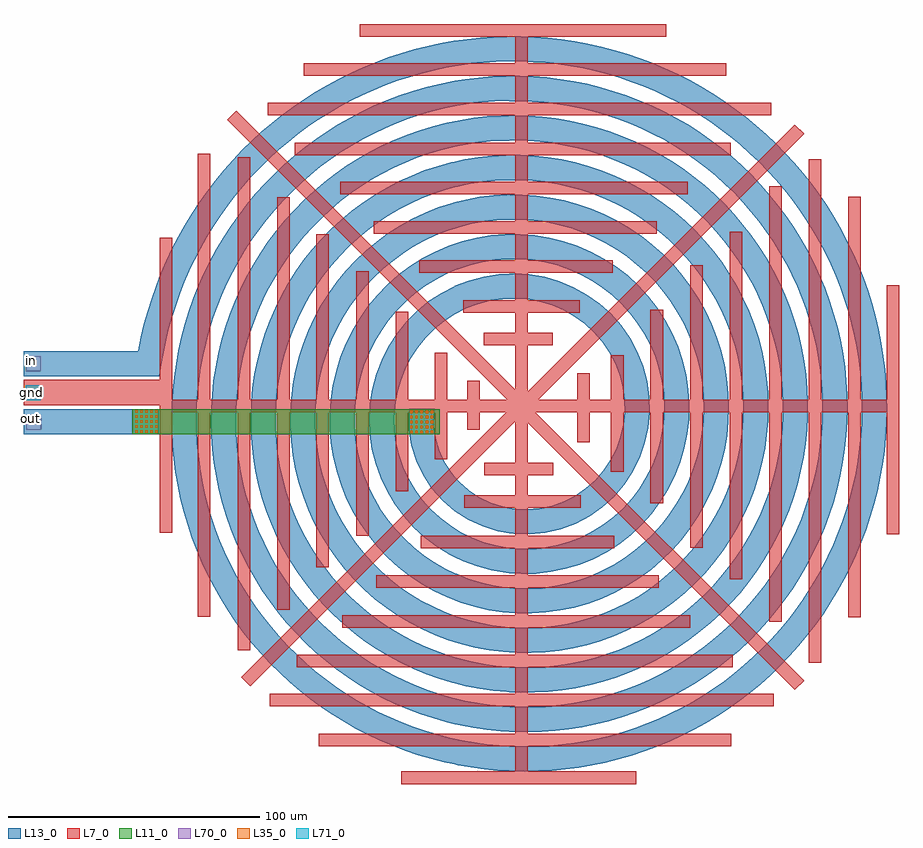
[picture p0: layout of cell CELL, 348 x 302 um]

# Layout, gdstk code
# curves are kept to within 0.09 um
import gdstk
lib = gdstk.Library(unit=1e-6, precision=1e-09)
def R(c, l, rs):  # rectangles x0, y0, x1, y1
    for r in rs: c.add(gdstk.rectangle(r[:2], r[2:], *l))
def A(c, l, x, y, w, h, nx, ny, dx, dy):  # array of equal rectangles
    R(c, l, [(x+i*dx, y+j*dy, x+i*dx+w, y+j*dy+h) for i in range(nx) for j in range(ny)])
def P(c, l, *ps):  # polygons
    for p in ps: c.add(gdstk.Polygon(p, *l))
L7_0 = (7, 0)
L11_0 = (11, 0)
L13_0 = (13, 0)
L35_0 = (35, 0)
L70_0 = (70, 0)
L71_0 = (71, 0)

cell = lib.new_cell('CELL')
P(cell, L7_0, [(149.8,46.3),(144.8,46.3),(144.8,0.8),(134.5,0.8),(134.5,81.4),(129.5,81.4),(129.5,0.8),(118.7,0.8),(118.7,96.4),(113.7,96.4),(113.7,0.8),(103.1,0.8),(103.1,85.7),(98.1,85.7),(98.1,0.8),(87.4,0.8),(87.4,67.6),(82.4,67.6),(82.4,0.8),(71.6,0.8),(71.6,54.2),(66.6,54.2),(66.6,0.8),(55.9,0.8),(55.9,36.5),(50.9,36.5),(50.9,0.8),(40.2,0.8),(40.2,18.5),(35.2,18.5),(35.2,0.8),(26.8,0.8),(26.8,11.3),(21.8,11.3),(21.8,0.8),(6.2,0.8),(111.9,106.5),(108.3,110.1),(2.1,3.9),(2.1,22.4),(12.1,22.4),(12.1,27.4),(2.1,27.4),(2.1,35.3),(22.7,35.3),(22.7,40.3),(2.1,40.3),(2.1,51.3),(35.9,51.3),(35.9,56.3),(2.1,56.3),(2.1,66.8),(53.3,66.8),(53.3,71.8),(2.1,71.8),(2.1,82.5),(65.8,82.5),(65.8,87.5),(2.1,87.5),(2.1,98),(82.7,98),(82.7,103),(2.1,103),(2.1,113.8),(98.9,113.8),(98.9,118.8),(2.1,118.8),(2.1,129.6),(81.1,129.6),(81.1,134.6),(2.1,134.6),(2.1,145.1),(57.1,145.1),(57.1,150.1),(-64.6,150.1),(-64.6,145.1),(-2.9,145.1),(-2.9,134.6),(-86.8,134.6),(-86.8,129.6),(-2.9,129.6),(-2.9,118.8),(-101.2,118.8),(-101.2,113.8),(-2.9,113.8),(-2.9,103),(-90.5,103),(-90.5,98),(-2.9,98),(-2.9,87.5),(-72.4,87.5),(-72.4,82.5),(-2.9,82.5),(-2.9,71.8),(-59,71.8),(-59,66.8),(-2.9,66.8),(-2.9,56.3),(-41,56.3),(-41,51.3),(-2.9,51.3),(-2.9,40.3),(-23.6,40.3),(-23.6,35.3),(-2.9,35.3),(-2.9,27.4),(-15.3,27.4),(-15.3,22.4),(-2.9,22.4),(-2.9,4.8),(-113.7,115.6),(-117.3,112),(-6.1,0.8),(-16.9,0.8),(-16.9,8.4),(-21.9,8.4),(-21.9,0.8),(-29.9,0.8),(-29.9,19.4),(-34.9,19.4),(-34.9,0.8),(-45.3,0.8),(-45.3,35.7),(-50.3,35.7),(-50.3,0.8),(-61,0.8),(-61,51.9),(-66,51.9),(-66,0.8),(-76.9,0.8),(-76.9,66.6),(-81.9,66.6),(-81.9,0.8),(-92.5,0.8),(-92.5,81.2),(-97.5,81.2),(-97.5,0.8),(-108.2,0.8),(-108.2,97.2),(-113.2,97.2),(-113.2,0.8),(-124,0.8),(-124,98.5),(-129,98.5),(-129,0.8),(-139.2,0.8),(-139.2,65.2),(-144.2,65.2),(-144.2,-52),(-139.2,-52),(-139.2,-4.2),(-129,-4.2),(-129,-85.4),(-124,-85.4),(-124,-4.2),(-113.2,-4.2),(-113.2,-98.7),(-108.2,-98.7),(-108.2,-4.2),(-97.5,-4.2),(-97.5,-82.6),(-92.5,-82.6),(-92.5,-4.2),(-81.9,-4.2),(-81.9,-65.7),(-76.9,-65.7),(-76.9,-4.2),(-66,-4.2),(-66,-53.2),(-61,-53.2),(-61,-4.2),(-50.3,-4.2),(-50.3,-35.6),(-45.3,-35.6),(-45.3,-4.2),(-34.9,-4.2),(-34.9,-22.9),(-29.9,-22.9),(-29.9,-4.2),(-21.9,-4.2),(-21.9,-11.2),(-16.9,-11.2),(-16.9,-4.2),(-6.5,-4.2),(-111.7,-109.4),(-108.1,-113),(-2.9,-7.8),(-2.9,-24.2),(-15.2,-24.2),(-15.2,-29.2),(-2.9,-29.2),(-2.9,-37.1),(-23.2,-37.1),(-23.2,-42.1),(-2.9,-42.1),(-2.9,-53.3),(-40.4,-53.3),(-40.4,-58.3),(-2.9,-58.3),(-2.9,-69),(-58.1,-69),(-58.1,-74),(-2.9,-74),(-2.9,-84.8),(-71.5,-84.8),(-71.5,-89.8),(-2.9,-89.8),(-2.9,-100.5),(-89.6,-100.5),(-89.6,-105.5),(-2.9,-105.5),(-2.9,-116.1),(-100.3,-116.1),(-100.3,-121.1),(-2.9,-121.1),(-2.9,-131.9),(-81,-131.9),(-81,-136.9),(-2.9,-136.9),(-2.9,-146.9),(-48.2,-146.9),(-48.2,-151.9),(45.3,-151.9),(45.3,-146.9),(2.1,-146.9),(2.1,-136.9),(82.9,-136.9),(82.9,-131.9),(2.1,-131.9),(2.1,-121.1),(99.8,-121.1),(99.8,-116.1),(2.1,-116.1),(2.1,-105.5),(83.6,-105.5),(83.6,-100.5),(2.1,-100.5),(2.1,-89.8),(66.7,-89.8),(66.7,-84.8),(2.1,-84.8),(2.1,-74),(54.2,-74),(54.2,-69),(2.1,-69),(2.1,-58.3),(36.5,-58.3),(36.5,-53.3),(2.1,-53.3),(2.1,-42.1),(23.1,-42.1),(23.1,-37.1),(2.1,-37.1),(2.1,-29.2),(12.2,-29.2),(12.2,-24.2),(2.1,-24.2),(2.1,-8.3),(108.3,-114.5),(111.9,-110.9),(5.2,-4.2),(21.8,-4.2),(21.8,-16.1),(26.8,-16.1),(26.8,-4.2),(35.2,-4.2),(35.2,-27.8),(40.2,-27.8),(40.2,-4.2),(50.9,-4.2),(50.9,-40.4),(55.9,-40.4),(55.9,-4.2),(66.6,-4.2),(66.6,-58.1),(71.6,-58.1),(71.6,-4.2),(82.4,-4.2),(82.4,-70.6),(87.4,-70.6),(87.4,-4.2),(98.1,-4.2),(98.1,-87.5),(103.1,-87.5),(103.1,-4.2),(113.7,-4.2),(113.7,-103.7),(118.7,-103.7),(118.7,-4.2),(129.5,-4.2),(129.5,-85.7),(134.5,-85.7),(134.5,-4.2),(144.8,-4.2),(144.8,-52.7),(149.8,-52.7)])
P(cell, L13_0, [(-45.11,-4.39),(-45.063,-10.85),(-44.079,-17.218),(-42.192,-23.365),(-39.454,-29.166),(-35.933,-34.511),(-31.708,-39.302),(-26.841,-43.472),(-26.841,-29.757),(-28.334,-28.011),(-31.02,-23.794),(-33.083,-19.239),(-34.474,-14.437),(-35.157,-9.483),(-35.11,-4.484),(-34.827,-2.7),(-44.871,-2.7)],
  [(-198.2,10.1),(-144.086,10.1),(-142.796,18.665),(-141.807,23.566),(-139.32,33.251),(-136.164,42.738),(-132.352,51.981),(-127.904,60.936),(-122.839,69.557),(-117.183,77.801),(-110.962,85.629),(-104.206,93),(-96.949,99.877),(-93.143,103.119),(-89.225,106.226),(-81.072,112.014),(-72.531,117.212),(-63.644,121.793),(-59.084,123.845),(-49.761,127.457),(-40.205,130.398),(-35.355,131.613),(-26.841,133.292),(-26.841,143.43),(-32.547,142.435),(-37.784,141.313),(-42.977,140.007),(-48.12,138.516),(-53.208,136.844),(-58.232,134.993),(-63.187,132.964),(-68.067,130.761),(-72.866,128.387),(-77.578,125.845),(-82.196,123.138),(-86.716,120.269),(-91.132,117.242),(-95.437,114.062),(-99.628,110.731),(-103.698,107.256),(-107.643,103.638),(-111.458,99.885),(-115.139,96),(-118.68,91.987),(-122.078,87.853),(-125.328,83.602),(-128.427,79.24),(-131.371,74.772),(-134.157,70.204),(-136.78,65.541),(-139.239,60.789),(-141.529,55.954),(-143.649,51.043),(-145.596,46.06),(-147.367,41.013),(-148.961,35.907),(-150.376,30.748),(-151.61,25.544),(-152.694,20.1),(-198.2,20.1)],
  [(-139.448,-6.441),(-139.376,-11.83),(-139.095,-17.212),(-138.604,-22.579),(-137.905,-27.922),(-136.999,-33.234),(-135.888,-38.506),(-134.572,-43.73),(-133.056,-48.9),(-131.34,-54.007),(-129.428,-59.043),(-127.322,-64.001),(-125.027,-68.874),(-122.545,-73.654),(-119.88,-78.334),(-117.037,-82.908),(-114.021,-87.369),(-110.834,-91.71),(-107.484,-95.925),(-103.973,-100.008),(-100.309,-103.953),(-96.496,-107.754),(-92.54,-111.405),(-88.448,-114.902),(-84.224,-118.239),(-79.876,-121.413),(-75.41,-124.417),(-70.833,-127.248),(-66.151,-129.902),(-61.372,-132.375),(-56.501,-134.664),(-51.548,-136.766),(-46.518,-138.677),(-41.419,-140.395),(-36.259,-141.918),(-31.045,-143.244),(-26.841,-144.145),(-26.841,-133.921),(-33.782,-132.23),(-38.576,-130.808),(-43.312,-129.205),(-47.983,-127.423),(-52.583,-125.464),(-57.106,-123.331),(-61.543,-121.027),(-65.89,-118.555),(-70.138,-115.919),(-74.283,-113.123),(-78.318,-110.17),(-82.237,-107.064),(-86.034,-103.811),(-89.703,-100.415),(-93.239,-96.88),(-96.637,-93.212),(-99.892,-89.416),(-102.998,-85.498),(-105.951,-81.463),(-108.746,-77.318),(-111.38,-73.067),(-113.847,-68.719),(-116.145,-64.278),(-118.27,-59.752),(-120.218,-55.147),(-121.986,-50.47),(-123.572,-45.728),(-124.973,-40.928),(-126.187,-36.078),(-127.211,-31.184),(-128.045,-26.254),(-128.687,-21.296),(-129.135,-16.316),(-129.389,-11.322),(-129.449,-6.322),(-129.313,-1.324),(-128.982,3.665),(-128.457,8.637),(-127.739,13.585),(-126.827,18.501),(-125.723,23.378),(-124.429,28.208),(-122.948,32.983),(-121.279,37.697),(-119.427,42.341),(-117.395,46.909),(-115.184,51.394),(-112.798,55.788),(-110.241,60.085),(-107.517,64.277),(-104.63,68.36),(-101.583,72.324),(-98.383,76.166),(-95.033,79.878),(-91.539,83.454),(-87.906,86.89),(-84.14,90.179),(-80.247,93.316),(-76.232,96.295),(-72.101,99.113),(-67.862,101.765),(-63.521,104.246),(-59.085,106.552),(-54.56,108.68),(-49.954,110.625),(-45.274,112.386),(-40.528,113.957),(-35.722,115.338),(-30.865,116.526),(-26.841,117.341),(-26.841,127.499),(-33.241,126.24),(-38.484,124.949),(-43.672,123.45),(-48.795,121.745),(-53.845,119.837),(-58.815,117.729),(-63.697,115.425),(-68.483,112.928),(-73.166,110.243),(-77.738,107.374),(-82.191,104.325),(-86.52,101.103),(-90.718,97.711),(-94.777,94.156),(-98.692,90.443),(-102.457,86.577),(-106.066,82.567),(-109.513,78.417),(-112.794,74.134),(-115.903,69.726),(-118.835,65.198),(-121.586,60.559),(-124.153,55.816),(-126.531,50.975),(-128.716,46.045),(-130.706,41.033),(-132.498,35.947),(-134.089,30.795),(-135.477,25.585),(-136.659,20.325),(-137.635,15.023),(-138.402,9.687),(-138.961,4.326),(-139.309,-1.053)],
  [(-123.741,-8.019),(-123.588,-13.46),(-123.194,-18.889),(-122.56,-24.295),(-121.687,-29.667),(-120.578,-34.994),(-119.234,-40.267),(-117.659,-45.476),(-115.856,-50.609),(-113.828,-55.657),(-111.581,-60.611),(-109.118,-65.461),(-106.444,-70.197),(-103.566,-74.812),(-100.488,-79.295),(-97.217,-83.639),(-93.759,-87.835),(-90.121,-91.875),(-86.311,-95.753),(-82.335,-99.46),(-78.202,-102.99),(-73.919,-106.337),(-69.495,-109.494),(-64.938,-112.455),(-60.258,-115.215),(-55.462,-117.77),(-50.56,-120.114),(-45.562,-122.243),(-40.477,-124.154),(-35.315,-125.843),(-26.841,-128.066),(-26.841,-117.798),(-32.602,-116.218),(-37.351,-114.655),(-42.029,-112.888),(-46.625,-110.92),(-51.132,-108.756),(-55.541,-106.397),(-59.844,-103.85),(-64.031,-101.118),(-68.097,-98.207),(-72.031,-95.121),(-75.827,-91.868),(-79.478,-88.451),(-82.976,-84.879),(-86.315,-81.157),(-89.488,-77.293),(-92.489,-73.293),(-95.312,-69.166),(-97.951,-64.919),(-100.401,-60.561),(-102.657,-56.099),(-104.714,-51.542),(-106.569,-46.899),(-108.218,-42.178),(-109.657,-37.39),(-110.883,-32.542),(-111.894,-27.646),(-112.687,-22.709),(-113.26,-17.742),(-113.613,-12.754),(-113.745,-7.756),(-113.654,-2.757),(-113.341,2.233),(-112.806,7.205),(-112.05,12.147),(-111.075,17.051),(-109.882,21.907),(-108.473,26.704),(-106.851,31.434),(-105.019,36.086),(-102.98,40.651),(-100.739,45.121),(-98.299,49.485),(-95.665,53.735),(-92.843,57.863),(-89.838,61.859),(-86.655,65.715),(-83.302,69.424),(-79.785,72.978),(-76.111,76.369),(-72.287,79.59),(-68.32,82.635),(-64.22,85.497),(-59.994,88.169),(-55.651,90.647),(-51.2,92.924),(-46.65,94.996),(-42.01,96.859),(-37.29,98.508),(-32.499,99.94),(-26.841,101.313),(-26.841,111.51),(-30.07,110.853),(-35.362,109.521),(-40.588,107.949),(-45.735,106.139),(-50.795,104.097),(-55.755,101.826),(-60.607,99.333),(-65.339,96.621),(-69.943,93.697),(-74.41,90.567),(-78.729,87.238),(-82.893,83.718),(-86.892,80.012),(-90.72,76.13),(-94.368,72.08),(-97.83,67.869),(-101.098,63.507),(-104.165,59.002),(-107.027,54.365),(-109.677,49.604),(-112.111,44.729),(-114.323,39.75),(-116.31,34.678),(-118.068,29.522),(-119.593,24.293),(-120.883,19.002),(-121.936,13.658),(-122.749,8.274),(-123.321,2.859),(-123.652,-2.575)],
  [(-108.022,-5.565),(-107.969,-11.081),(-107.632,-16.585),(-107.012,-22.065),(-106.111,-27.504),(-104.932,-32.89),(-103.479,-38.207),(-101.755,-43.442),(-99.766,-48.582),(-97.517,-53.612),(-95.015,-58.521),(-92.266,-63.295),(-89.278,-67.923),(-86.059,-72.392),(-82.618,-76.692),(-78.964,-80.811),(-75.106,-84.739),(-71.055,-88.467),(-66.822,-91.985),(-62.417,-95.284),(-57.852,-98.358),(-53.138,-101.197),(-48.289,-103.796),(-43.316,-106.147),(-38.231,-108.246),(-33.049,-110.088),(-26.841,-111.901),(-26.841,-101.519),(-30.154,-100.517),(-34.861,-98.832),(-39.478,-96.913),(-43.993,-94.765),(-48.395,-92.393),(-52.672,-89.804),(-56.813,-87.002),(-60.808,-83.995),(-64.646,-80.79),(-68.318,-77.396),(-71.813,-73.821),(-75.122,-70.073),(-78.237,-66.162),(-81.15,-62.098),(-83.852,-57.891),(-86.337,-53.552),(-88.597,-49.092),(-90.627,-44.522),(-92.42,-39.855),(-93.973,-35.102),(-95.28,-30.276),(-96.337,-25.389),(-97.142,-20.454),(-97.693,-15.485),(-97.986,-10.493),(-98.022,-5.493),(-97.8,-0.498),(-97.319,4.478),(-96.582,9.424),(-95.589,14.324),(-94.343,19.166),(-92.847,23.937),(-91.105,28.624),(-89.12,33.213),(-86.899,37.693),(-84.447,42.05),(-81.77,46.273),(-78.875,50.35),(-75.771,54.27),(-72.464,58.02),(-68.965,61.592),(-65.283,64.974),(-61.427,68.157),(-57.408,71.132),(-53.238,73.89),(-48.927,76.423),(-44.487,78.724),(-39.932,80.785),(-35.274,82.601),(-30.525,84.167),(-26.841,85.166),(-26.841,95.448),(-33.655,93.664),(-38.906,91.918),(-44.055,89.896),(-49.089,87.602),(-53.993,85.045),(-58.753,82.231),(-63.358,79.169),(-67.793,75.869),(-72.047,72.339),(-76.108,68.59),(-79.966,64.633),(-83.609,60.479),(-87.029,56.14),(-90.216,51.627),(-93.162,46.955),(-95.858,42.135),(-98.299,37.182),(-100.478,32.109),(-102.389,26.929),(-104.028,21.658),(-105.39,16.31),(-106.472,10.899),(-107.273,5.439),(-107.79,-0.054)],
  [(-92.286,-4.502),(-92.285,-10.118),(-91.939,-15.722),(-91.25,-21.292),(-90.22,-26.809),(-88.856,-32.251),(-87.161,-37.599),(-85.145,-42.833),(-82.814,-47.933),(-80.178,-52.881),(-77.247,-57.659),(-74.034,-62.25),(-70.549,-66.638),(-66.808,-70.807),(-62.823,-74.743),(-58.609,-78.431),(-54.183,-81.859),(-49.56,-85.016),(-44.758,-87.89),(-39.794,-90.473),(-34.686,-92.754),(-29.452,-94.728),(-26.841,-95.539),(-26.841,-85.041),(-31.128,-83.409),(-35.687,-81.355),(-40.115,-79.034),(-44.397,-76.452),(-48.517,-73.619),(-52.46,-70.545),(-56.212,-67.24),(-59.758,-63.715),(-63.086,-59.983),(-66.182,-56.057),(-69.036,-51.952),(-71.636,-47.681),(-73.972,-43.26),(-76.036,-38.706),(-77.818,-34.034),(-79.313,-29.263),(-80.513,-24.409),(-81.413,-19.491),(-82.011,-14.527),(-82.302,-9.535),(-82.286,-4.535),(-81.961,0.454),(-81.329,5.414),(-80.391,10.325),(-79.15,15.169),(-77.611,19.926),(-75.778,24.578),(-73.659,29.107),(-71.261,33.494),(-68.593,37.723),(-65.665,41.776),(-62.488,45.637),(-59.073,49.289),(-55.436,52.72),(-51.588,55.913),(-47.546,58.856),(-43.325,61.536),(-38.942,63.943),(-34.415,66.065),(-29.761,67.893),(-26.841,68.83),(-26.841,79.251),(-33.418,77.2),(-38.659,75.119),(-43.755,72.708),(-48.686,69.978),(-53.432,66.94),(-57.975,63.608),(-62.296,59.995),(-66.379,56.118),(-70.209,51.991),(-73.77,47.632),(-77.05,43.059),(-80.036,38.291),(-82.717,33.345),(-85.082,28.243),(-87.125,23.005),(-88.837,17.651),(-90.214,12.202),(-91.249,6.679),(-91.94,1.104)],
  [(-76.583,-4.893),(-76.547,-10.655),(-76.072,-16.396),(-75.162,-22.082),(-73.825,-27.68),(-72.069,-33.159),(-69.906,-38.489),(-67.349,-43.639),(-64.415,-48.581),(-61.121,-53.288),(-57.487,-57.736),(-53.533,-61.899),(-49.284,-65.757),(-44.763,-69.288),(-39.995,-72.476),(-35.008,-75.304),(-29.828,-77.758),(-26.841,-78.914),(-26.841,-68.13),(-30.684,-66.287),(-35.022,-63.801),(-39.165,-61.002),(-43.091,-57.905),(-46.777,-54.527),(-50.202,-50.885),(-53.347,-46.998),(-56.194,-42.887),(-58.726,-38.576),(-60.927,-34.086),(-62.785,-29.444),(-64.287,-24.675),(-65.425,-19.806),(-66.19,-14.865),(-66.577,-9.88),(-66.583,-4.88),(-66.207,0.106),(-65.45,5.048),(-64.314,9.917),(-62.807,14.684),(-60.934,19.321),(-58.708,23.798),(-56.14,28.088),(-53.245,32.164),(-50.039,36.001),(-46.542,39.575),(-42.774,42.862),(-38.758,45.84),(-34.518,48.491),(-30.081,50.796),(-26.841,52.162),(-26.841,62.801),(-29.361,61.953),(-34.691,59.67),(-39.82,56.97),(-44.715,53.872),(-49.347,50.397),(-53.689,46.569),(-57.713,42.413),(-61.398,37.955),(-64.72,33.224),(-67.662,28.25),(-70.207,23.065),(-72.341,17.7),(-74.053,12.188),(-75.334,6.563),(-76.179,0.858)],
  [(-60.913,-6.877),(-60.655,-12.872),(-59.799,-18.806),(-58.359,-24.62),(-56.352,-30.259),(-53.801,-35.669),(-50.736,-40.799),(-47.187,-45.601),(-43.192,-50.034),(-38.791,-54.056),(-34.027,-57.634),(-28.946,-60.737),(-26.841,-61.761),(-26.841,-50.326),(-28.749,-49.14),(-32.724,-46.107),(-36.388,-42.705),(-39.707,-38.965),(-42.646,-34.92),(-45.177,-30.608),(-47.272,-26.068),(-48.911,-21.344),(-50.073,-16.481),(-50.746,-11.526),(-50.919,-6.529),(-50.59,-1.54),(-49.758,3.39),(-48.431,8.211),(-46.618,12.87),(-44.336,17.319),(-41.608,21.51),(-38.46,25.394),(-34.924,28.929),(-31.037,32.075),(-26.841,34.793),(-26.841,45.994),(-32.276,43.186),(-37.328,39.848),(-41.995,36.001),(-46.229,31.69),(-49.988,26.966),(-53.235,21.882),(-55.937,16.496),(-58.072,10.866),(-59.619,5.053),(-60.568,-0.882)],
  [(-26.841,-43.472),(-21.52,-46.894),(-15.763,-49.572),(-9.71,-51.447),(-3.472,-52.495),(2.838,-52.709),(9.11,-52.095),(15.239,-50.673),(21.123,-48.477),(26.67,-45.551),(31.792,-41.952),(36.413,-37.743),(40.466,-32.998),(43.896,-27.795),(46.655,-22.218),(48.711,-16.355),(50.039,-10.295),(50.629,-4.127),(50.478,2.058),(49.596,8.174),(48.002,14.135),(45.726,19.862),(42.803,25.279),(39.28,30.317),(35.207,34.912),(30.644,39.008),(25.652,42.558),(20.299,45.521),(14.655,47.865),(8.792,49.566),(2.784,50.609),(-3.296,50.986),(-9.374,50.699),(-15.379,49.756),(-21.241,48.173),(-26.841,45.994),(-26.841,34.793),(-22.379,37.05),(-17.703,38.82),(-12.864,40.077),(-7.917,40.806),(-2.921,40.993),(2.067,40.635),(6.984,39.731),(11.772,38.29),(16.37,36.325),(20.719,33.859),(24.764,30.919),(28.449,27.541),(31.726,23.764),(34.548,19.636),(36.874,15.21),(38.669,10.544),(39.907,5.699),(40.565,0.743),(40.629,-4.257),(40.096,-9.229),(38.969,-14.1),(37.258,-18.798),(34.987,-23.252),(32.185,-27.393),(28.89,-31.155),(25.152,-34.475),(21.025,-37.297),(16.572,-39.573),(11.865,-41.259),(6.98,-42.324),(1.998,-42.744),(-2.996,-42.506),(-7.915,-41.609),(-12.67,-40.062),(-17.173,-37.889),(-21.338,-35.123),(-25.084,-31.811),(-26.841,-29.757)],
  [(-26.841,-61.761),(-23.596,-63.34),(-18.028,-65.423),(-12.292,-66.969),(-6.44,-67.968),(-0.524,-68.415),(5.404,-68.309),(11.292,-67.654),(17.091,-66.458),(22.751,-64.735),(28.226,-62.502),(33.472,-59.781),(38.445,-56.596),(43.107,-52.976),(47.42,-48.954),(51.354,-44.564),(54.876,-39.842),(57.963,-34.828),(60.591,-29.564),(62.742,-24.091),(64.403,-18.453),(65.562,-12.695),(66.214,-6.861),(66.356,-0.995),(65.989,4.857),(65.118,10.653),(63.753,16.349),(61.906,21.905),(59.592,27.279),(56.831,32.435),(53.644,37.335),(50.057,41.946),(46.096,46.237),(41.791,50.178),(37.175,53.744),(32.28,56.911),(27.141,59.66),(21.795,61.973),(16.279,63.837),(10.632,65.24),(4.891,66.176),(-0.904,66.64),(-6.716,66.632),(-12.504,66.152),(-18.233,65.206),(-23.864,63.803),(-26.841,62.801),(-26.841,52.162),(-25.474,52.739),(-20.727,54.308),(-15.869,55.49),(-10.931,56.276),(-5.946,56.661),(-0.946,56.641),(4.036,56.213),(8.966,55.38),(13.811,54.146),(18.539,52.518),(23.116,50.506),(27.511,48.121),(31.693,45.38),(35.631,42.3),(39.299,38.902),(42.668,35.207),(45.714,31.242),(48.414,27.034),(50.748,22.612),(52.696,18.007),(54.244,13.253),(55.379,8.384),(56.09,3.434),(56.372,-1.558),(56.219,-6.555),(55.632,-11.521),(54.613,-16.416),(53.169,-21.203),(51.309,-25.844),(49.046,-30.302),(46.396,-34.543),(43.379,-38.53),(40.018,-42.231),(36.337,-45.616),(32.367,-48.655),(28.138,-51.322),(23.683,-53.594),(19.04,-55.449),(14.247,-56.871),(9.343,-57.846),(4.37,-58.363),(-0.63,-58.416),(-5.613,-58.003),(-10.535,-57.124),(-15.353,-55.787),(-20.023,-54),(-24.502,-51.779),(-26.841,-50.326)],
  [(-26.841,-78.914),(-24.485,-79.826),(-19.007,-81.499),(-13.424,-82.768),(-7.765,-83.628),(-2.061,-84.077),(3.658,-84.114),(9.364,-83.738),(15.026,-82.954),(20.616,-81.768),(26.105,-80.186),(31.466,-78.217),(36.671,-75.873),(41.696,-73.167),(46.516,-70.114),(51.107,-66.729),(55.447,-63.031),(59.516,-59.039),(63.294,-54.773),(66.764,-50.255),(69.91,-45.508),(72.717,-40.555),(75.174,-35.421),(77.27,-30.131),(78.995,-24.71),(80.342,-19.185),(81.306,-13.582),(81.885,-7.928),(82.075,-2.249),(81.878,3.428),(81.296,9.077),(80.331,14.672),(78.991,20.187),(77.281,25.597),(75.211,30.879),(72.791,36.008),(70.033,40.962),(66.951,45.719),(63.558,50.258),(59.872,54.559),(55.909,58.605),(51.687,62.379),(47.225,65.863),(42.545,69.044),(37.666,71.909),(32.61,74.447),(27.4,76.646),(22.059,78.499),(16.609,79.999),(11.074,81.139),(5.478,81.917),(-0.155,82.33),(-5.801,82.377),(-11.438,82.058),(-17.041,81.377),(-22.587,80.337),(-26.841,79.251),(-26.841,68.83),(-20.151,70.638),(-15.233,71.542),(-10.267,72.127),(-5.274,72.391),(-0.275,72.331),(4.711,71.947),(9.66,71.24),(14.554,70.212),(19.369,68.868),(24.087,67.211),(28.686,65.249),(33.146,62.989),(37.448,60.441),(41.572,57.614),(45.501,54.521),(49.216,51.175),(52.701,47.59),(55.94,43.78),(58.917,39.764),(61.62,35.557),(64.035,31.179),(66.15,26.648),(67.956,21.986),(69.443,17.212),(70.605,12.349),(71.434,7.418),(71.927,2.442),(72.08,-2.555),(71.892,-7.552),(71.363,-12.524),(70.494,-17.448),(69.289,-22.3),(67.753,-27.059),(65.893,-31.699),(63.715,-36.2),(61.231,-40.54),(58.452,-44.696),(55.389,-48.648),(52.058,-52.377),(48.474,-55.863),(44.654,-59.09),(40.617,-62.039),(36.382,-64.697),(31.969,-67.048),(27.401,-69.081),(22.7,-70.783),(17.889,-72.147),(12.993,-73.163),(8.038,-73.827),(3.047,-74.132),(-1.953,-74.078),(-6.935,-73.663),(-11.875,-72.888),(-16.746,-71.758),(-21.521,-70.276),(-26.841,-68.13)],
  [(-26.841,-95.539),(-24.112,-96.387),(-18.683,-97.727),(-13.186,-98.744),(-7.64,-99.434),(-2.063,-99.796),(3.524,-99.83),(9.102,-99.535),(14.653,-98.914),(20.157,-97.97),(25.595,-96.706),(30.949,-95.127),(36.202,-93.24),(41.335,-91.05),(46.331,-88.568),(51.175,-85.8),(55.849,-82.758),(60.34,-79.451),(64.631,-75.892),(68.71,-72.092),(72.563,-68.065),(76.179,-63.825),(79.545,-59.385),(82.651,-54.761),(85.488,-49.967),(88.047,-45.021),(90.32,-39.938),(92.301,-34.735),(93.983,-29.429),(95.361,-24.038),(96.433,-18.577),(97.195,-13.066),(97.644,-7.522),(97.782,-1.962),(97.607,3.596),(97.12,9.135),(96.325,14.636),(95.223,20.084),(93.819,25.461),(92.118,30.751),(90.126,35.937),(87.849,41.004),(85.295,45.936),(82.473,50.718),(79.39,55.336),(76.058,59.776),(72.487,64.025),(68.688,68.07),(64.673,71.9),(60.454,75.503),(56.045,78.87),(51.459,81.989),(46.71,84.853),(41.813,87.453),(36.782,89.783),(31.633,91.834),(26.38,93.604),(21.04,95.085),(15.629,96.275),(10.162,97.17),(4.655,97.769),(-0.875,98.07),(-6.413,98.073),(-11.942,97.779),(-17.446,97.188),(-22.91,96.303),(-26.841,95.448),(-26.841,85.166),(-20.811,86.526),(-15.873,87.312),(-10.9,87.833),(-5.907,88.086),(-0.907,88.07),(4.085,87.786),(9.054,87.232),(13.986,86.411),(18.867,85.324),(23.681,83.975),(28.416,82.366),(33.055,80.503),(37.587,78.39),(41.997,76.033),(46.272,73.44),(50.398,70.616),(54.364,67.571),(58.157,64.314),(61.766,60.853),(65.179,57.199),(68.385,53.363),(71.376,49.355),(74.14,45.189),(76.67,40.876),(78.957,36.43),(80.994,31.863),(82.774,27.191),(84.291,22.427),(85.54,17.585),(86.518,12.682),(87.219,7.731),(87.643,2.749),(87.786,-2.249),(87.648,-7.247),(87.23,-12.229),(86.531,-17.18),(85.554,-22.084),(84.301,-26.924),(82.777,-31.686),(80.985,-36.354),(78.93,-40.912),(76.62,-45.347),(74.061,-49.642),(71.26,-53.784),(68.228,-57.76),(64.973,-61.555),(61.505,-65.157),(57.837,-68.555),(53.979,-71.735),(49.944,-74.688),(45.745,-77.403),(41.396,-79.87),(36.912,-82.082),(32.307,-84.029),(27.596,-85.706),(22.796,-87.105),(17.923,-88.223),(12.992,-89.053),(8.021,-89.594),(3.027,-89.842),(-1.972,-89.796),(-6.961,-89.457),(-11.921,-88.824),(-16.834,-87.9),(-21.685,-86.686),(-26.841,-85.041)],
  [(-26.841,-111.901),(-22.442,-112.984),(-17.045,-114.031),(-11.602,-114.808),(-6.129,-115.313),(-0.637,-115.546),(4.858,-115.506),(10.344,-115.193),(15.808,-114.609),(21.235,-113.756),(26.613,-112.637),(31.929,-111.253),(37.169,-109.61),(42.322,-107.71),(47.374,-105.561),(52.315,-103.166),(57.131,-100.532),(61.812,-97.665),(66.347,-94.574),(70.725,-91.265),(74.936,-87.746),(78.971,-84.027),(82.818,-80.117),(86.471,-76.024),(89.921,-71.759),(93.159,-67.333),(96.179,-62.755),(98.973,-58.037),(101.536,-53.19),(103.861,-48.226),(105.944,-43.155),(107.781,-37.991),(109.366,-32.745),(110.698,-27.429),(111.773,-22.056),(112.589,-16.638),(113.144,-11.188),(113.439,-5.718),(113.471,-0.241),(113.242,5.231),(112.753,10.685),(112.004,16.11),(110.998,21.492),(109.738,26.819),(108.227,32.081),(106.468,37.264),(104.466,42.358),(102.226,47.35),(99.752,52.231),(97.051,56.99),(94.13,61.615),(90.993,66.097),(87.65,70.426),(84.108,74.593),(80.374,78.589),(76.457,82.405),(72.367,86.033),(68.111,89.466),(63.7,92.696),(59.144,95.715),(54.452,98.519),(49.636,101.102),(44.704,103.457),(39.67,105.58),(34.542,107.467),(29.333,109.114),(24.054,110.518),(18.716,111.676),(13.33,112.586),(7.909,113.247),(2.464,113.656),(-2.994,113.814),(-8.453,113.721),(-13.902,113.377),(-19.328,112.783),(-26.841,111.51),(-26.841,101.313),(-22.746,102.138),(-17.805,102.9),(-12.833,103.434),(-5.274,103.779),(2.154,103.661),(7.14,103.276),(12.102,102.662),(17.03,101.819),(21.914,100.75),(26.744,99.455),(31.508,97.938),(36.197,96.202),(40.801,94.25),(45.308,92.087),(49.71,89.715),(53.997,87.142),(58.159,84.371),(62.187,81.409),(66.073,78.262),(69.807,74.937),(73.381,71.441),(76.787,67.781),(80.018,63.965),(83.066,60.001),(85.924,55.899),(88.586,51.666),(91.046,47.313),(93.297,42.848),(95.335,38.282),(97.154,33.625),(98.751,28.887),(100.121,24.078),(101.262,19.21),(102.17,14.293),(102.844,9.339),(103.28,4.358),(103.479,-0.638),(103.439,-5.638),(103.16,-10.63),(102.643,-15.603),(101.888,-20.546),(100.897,-25.447),(99.671,-30.294),(98.215,-35.077),(96.529,-39.785),(94.62,-44.406),(92.489,-48.929),(90.142,-53.344),(87.585,-57.641),(84.823,-61.809),(81.862,-65.838),(78.71,-69.719),(75.372,-73.442),(71.858,-76.998),(68.174,-80.379),(64.33,-83.577),(60.335,-86.583),(56.197,-89.39),(51.928,-91.992),(47.536,-94.381),(43.032,-96.553),(38.427,-98.5),(33.731,-100.219),(28.957,-101.705),(24.116,-102.954),(19.218,-103.962),(14.277,-104.727),(9.304,-105.247),(4.312,-105.52),(-0.688,-105.546),(-5.683,-105.323),(-10.661,-104.852),(-15.609,-104.135),(-20.516,-103.171),(-26.841,-101.519)],
  [(-26.841,-128.066),(-19.459,-129.553),(-14.085,-130.33),(-8.683,-130.875),(-3.262,-131.188),(2.167,-131.267),(7.593,-131.113),(13.008,-130.727),(18.4,-130.11),(23.761,-129.262),(29.081,-128.186),(34.349,-126.883),(39.557,-125.357),(44.694,-123.611),(49.752,-121.648),(54.721,-119.471),(59.593,-117.085),(64.359,-114.494),(69.01,-111.704),(73.539,-108.719),(77.937,-105.545),(82.196,-102.188),(86.309,-98.654),(90.268,-94.95),(94.068,-91.083),(97.701,-87.058),(101.16,-82.885),(104.441,-78.569),(107.537,-74.12),(110.443,-69.545),(113.154,-64.853),(115.666,-60.051),(117.974,-55.148),(120.075,-50.153),(121.965,-45.075),(123.64,-39.923),(125.099,-34.706),(126.339,-29.433),(127.357,-24.113),(128.153,-18.755),(128.726,-13.369),(129.074,-7.965),(129.197,-2.551),(129.095,2.863),(128.768,8.267),(128.218,13.654),(127.445,19.012),(126.452,24.333),(125.239,29.609),(123.809,34.829),(122.166,39.986),(120.311,45.07),(118.248,50.074),(115.981,54.987),(113.515,59.804),(110.852,64.514),(107.999,69.111),(104.96,73.586),(101.74,77.933),(98.344,82.144),(94.78,86.212),(91.052,90.131),(87.168,93.894),(83.134,97.496),(78.956,100.929),(74.642,104.189),(70.199,107.271),(65.635,110.169),(60.957,112.879),(56.173,115.396),(51.291,117.717),(46.319,119.838),(41.266,121.756),(36.14,123.468),(30.949,124.97),(25.701,126.262),(20.407,127.34),(15.073,128.204),(9.709,128.852),(4.324,129.284),(-1.074,129.498),(-6.476,129.495),(-11.873,129.275),(-17.257,128.838),(-22.619,128.186),(-26.841,127.499),(-26.841,117.341),(-21.028,118.313),(-16.064,118.91),(-11.08,119.306),(-6.084,119.503),(-1.084,119.498),(3.912,119.292),(8.895,118.885),(13.858,118.278),(18.793,117.471),(23.691,116.466),(28.544,115.264),(33.345,113.866),(38.085,112.276),(42.757,110.494),(47.353,108.525),(51.865,106.371),(56.286,104.036),(60.609,101.523),(64.826,98.837),(68.93,95.981),(72.914,92.96),(76.772,89.78),(80.498,86.444),(84.083,82.96),(87.524,79.332),(90.813,75.566),(93.945,71.668),(96.915,67.646),(99.718,63.505),(102.348,59.253),(104.802,54.897),(107.074,50.443),(109.161,45.899),(111.06,41.274),(112.766,36.574),(114.277,31.808),(115.59,26.983),(116.702,22.108),(117.612,17.192),(118.318,12.242),(118.818,7.267),(119.112,2.276),(119.198,-2.724),(119.077,-7.722),(118.747,-12.711),(118.211,-17.682),(117.468,-22.627),(116.52,-27.536),(115.368,-32.402),(114.014,-37.215),(112.46,-41.967),(110.709,-46.65),(108.763,-51.256),(106.626,-55.777),(104.301,-60.203),(101.793,-64.529),(99.105,-68.745),(96.242,-72.844),(93.21,-76.82),(90.012,-80.664),(86.656,-84.37),(83.146,-87.931),(79.489,-91.34),(75.691,-94.593),(71.759,-97.681),(67.7,-100.601),(63.521,-103.345),(59.229,-105.91),(54.832,-108.291),(50.338,-110.483),(45.755,-112.481),(41.091,-114.283),(36.354,-115.884),(31.553,-117.282),(26.697,-118.474),(21.795,-119.457),(16.855,-120.23),(11.887,-120.79),(6.899,-121.137),(1.9,-121.27),(-3.099,-121.189),(-8.09,-120.893),(-13.064,-120.382),(-18.011,-119.658),(-22.923,-118.722),(-26.841,-117.798)],
  [(-26.841,-144.145),(-20.486,-145.297),(-15.156,-146.021),(-9.802,-146.543),(-4.433,-146.862),(0.944,-146.977),(6.321,-146.889),(11.691,-146.597),(17.045,-146.103),(22.377,-145.408),(27.679,-144.511),(32.943,-143.416),(38.162,-142.123),(43.328,-140.635),(48.434,-138.954),(53.473,-137.082),(58.438,-135.022),(63.322,-132.778),(68.118,-130.352),(72.82,-127.748),(77.42,-124.97),(81.913,-122.022),(86.293,-118.909),(90.553,-115.633),(94.688,-112.202),(98.691,-108.618),(102.558,-104.888),(106.283,-101.017),(109.861,-97.009),(113.287,-92.872),(116.557,-88.61),(119.666,-84.23),(122.61,-79.737),(125.385,-75.139),(127.987,-70.441),(130.414,-65.65),(132.661,-60.773),(134.727,-55.816),(136.607,-50.787),(138.3,-45.691),(139.804,-40.537),(141.116,-35.331),(142.236,-30.08),(143.161,-24.792),(143.891,-19.474),(144.424,-14.133),(144.761,-8.776),(144.9,-3.41),(144.842,1.957),(144.587,7.318),(144.136,12.665),(143.489,17.992),(142.648,23.292),(141.613,28.557),(140.386,33.781),(138.969,38.956),(137.363,44.075),(135.573,49.132),(133.599,54.12),(131.444,59.033),(129.112,63.864),(126.605,68.606),(123.928,73.254),(121.084,77.801),(118.077,82.242),(114.91,86.57),(111.588,90.78),(108.116,94.867),(104.499,98.825),(100.74,102.65),(96.846,106.335),(92.821,109.877),(88.671,113.271),(84.401,116.513),(80.017,119.599),(75.525,122.524),(70.93,125.285),(66.24,127.879),(61.459,130.301),(56.594,132.551),(51.651,134.623),(46.638,136.517),(41.56,138.229),(36.424,139.758),(31.236,141.101),(26.004,142.258),(20.734,143.226),(15.433,144.005),(10.108,144.594),(4.766,144.992),(-0.587,145.199),(-5.944,145.214),(-11.298,145.039),(-16.642,144.672),(-21.969,144.115),(-26.841,143.43),(-26.841,133.292),(-20.588,134.211),(-10.626,135.061),(-5.274,135.218),(4.368,135),(14.323,134.067),(24.185,132.425),(29.066,131.34),(38.695,128.648),(48.107,125.273),(57.251,121.23),(61.708,118.964),(70.364,113.959),(78.636,108.343),(82.614,105.314),(86.481,102.144),(93.858,95.395),(97.358,91.825),(100.727,88.13),(103.959,84.315),(107.051,80.386),(109.999,76.347),(112.797,72.204),(115.444,67.961),(117.934,63.626),(120.265,59.202),(122.433,54.697),(124.436,50.115),(126.27,45.464),(127.933,40.749),(129.423,35.976),(130.737,31.152),(131.875,26.283),(132.833,21.375),(133.611,16.436),(134.208,11.472),(134.622,6.489),(134.853,1.495),(134.9,-3.505),(134.764,-8.503),(134.444,-13.493),(133.941,-18.468),(133.255,-23.42),(132.388,-28.345),(131.339,-33.233),(130.11,-38.08),(128.704,-42.878),(127.121,-47.621),(125.364,-52.302),(123.435,-56.915),(121.337,-61.454),(119.072,-65.911),(116.644,-70.282),(114.055,-74.559),(111.309,-78.738),(108.409,-82.811),(105.361,-86.774),(102.167,-90.621),(98.832,-94.347),(95.361,-97.945),(91.757,-101.412),(88.028,-104.742),(84.176,-107.93),(80.208,-110.973),(76.13,-113.865),(71.945,-116.602),(67.662,-119.181),(63.285,-121.598),(58.82,-123.849),(54.274,-125.931),(49.653,-127.84),(44.964,-129.575),(40.213,-131.133),(35.406,-132.511),(30.551,-133.706),(25.655,-134.718),(20.724,-135.545),(15.765,-136.186),(10.785,-136.638),(5.792,-136.903),(0.793,-136.978),(-4.206,-136.864),(-9.197,-136.561),(-14.172,-136.07),(-19.126,-135.39),(-26.841,-133.921)])
A(cell, L35_0, -44.5, -12.5, 1, 1, 5, 5, 2, 2)
A(cell, L35_0, -153.9, -12.4, 1, 1, 5, 5, 2, 2)
R(cell, L70_0, [(-197.2,-11.1,-191.2,-5.1), (-197.3,12.1,-191.3,18.1)])
R(cell, L71_0, [(-197.3,0.5,-191.3,6.5)])
cell.add(gdstk.FlexPath([(-149.5,-8),(-193.2,-8)], 10, ends="extended", simple_path=True, layer=13, datatype=0))  # L13_0
cell.add(gdstk.FlexPath([(-37.8,-8),(-150,-8)], 10, ends="extended", simple_path=True, layer=11, datatype=0))  # L11_0
cell.add(gdstk.FlexPath([(-193.2,3.7),(-146.7,3.7)], 10, ends="extended", simple_path=True, layer=7, datatype=0))  # L7_0
cell.add(gdstk.Label('in', (-195.1,16.4), layer=70, texttype=1))
cell.add(gdstk.Label('out', (-195.4,-6.8), layer=70, texttype=1))
cell.add(gdstk.Label('gnd', (-194.9,3.5), layer=71, texttype=1))

lib.write_gds('CELL.gds')
